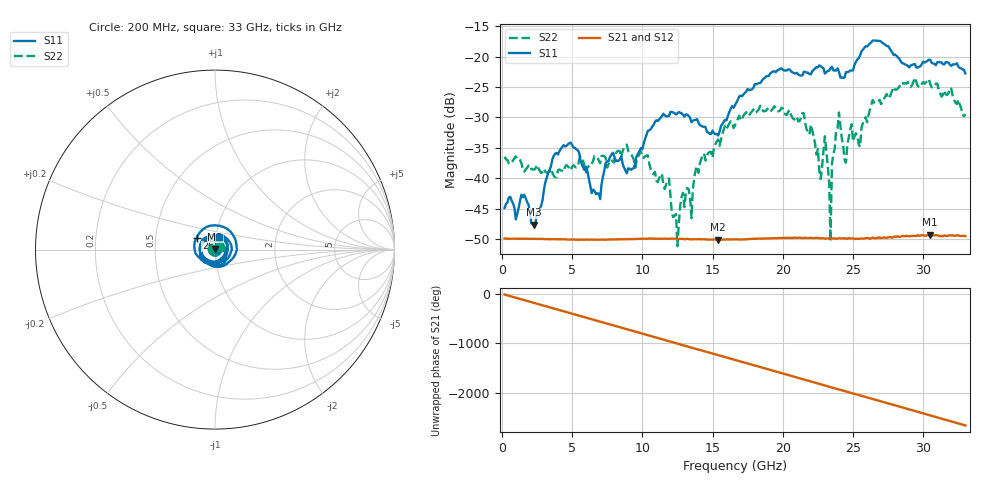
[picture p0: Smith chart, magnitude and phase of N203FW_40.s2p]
# GHZ S RI R 50
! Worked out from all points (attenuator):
!   329 points, 200 MHz to 33 GHz, reference 50 ohm
!   highest |S21| = -49.33 dB at 30.5 GHz (marker M1); lowest = -50.1 dB at 15.4 GHz (marker M2)
!   lowest |S11| = -47.6 dB at 2.3 GHz (marker M3), VSWR 1.01, Z = 50.1 + j0.4 ohm
!   |S11| at or under -10 dB: start of sweep to end of sweep
!   |S22| runs from -51.2 to -23.5 dB; largest |S21 - S12| = 8.8e-05
!   S11 on the Smith chart (normalised r, x): 200 MHz: 1.01, +0.00; 26 GHz: 0.81, +0.10; 33 GHz: 1.03, +0.14
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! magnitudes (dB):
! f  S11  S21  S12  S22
! 200 MHz  -44.9  -49.9  -49.9  -36.5
! 2.3 GHz  -47.6  -50.0  -50.0  -38.6
! 3.8 GHz  -36.0  -50.1  -50.0  -39.9
! 5.7 GHz  -37.7  -50.1  -50.1  -36.8
! 7 GHz  -43.5  -50.1  -50.1  -37.6
! 11.2 GHz  -30.3  -50.0  -50.0  -40.0
! 12.5 GHz  -29.4  -50.0  -50.0  -51.2
! 12.9 GHz  -29.6  -50.0  -50.0  -42.4
! 13.5 GHz  -30.8  -50.1  -50.1  -46.6
! 15.4 GHz  -33.0  -50.1  -50.1  -33.7
! 16.6 GHz  -28.0  -50.1  -50.1  -31.3
! 22.1 GHz  -22.4  -49.8  -49.8  -32.2
! 22.7 GHz  -21.6  -49.9  -49.8  -40.1
! 23 GHz  -22.8  -50.0  -49.9  -33.1
! 23.4 GHz  -21.9  -49.9  -49.9  -50.4
! 23.5 GHz  -21.7  -49.9  -49.9  -37.7
! 24 GHz  -22.5  -49.9  -49.9  -29.2
! 24.5 GHz  -22.6  -49.9  -49.9  -37.5
! 26 GHz  -18.3  -49.9  -49.8  -30.8
! 27.6 GHz  -18.6  -49.7  -49.7  -26.7
! 30.5 GHz  -20.6  -49.3  -49.4  -24.6
! 33 GHz  -22.8  -49.6  -49.6  -29.5
